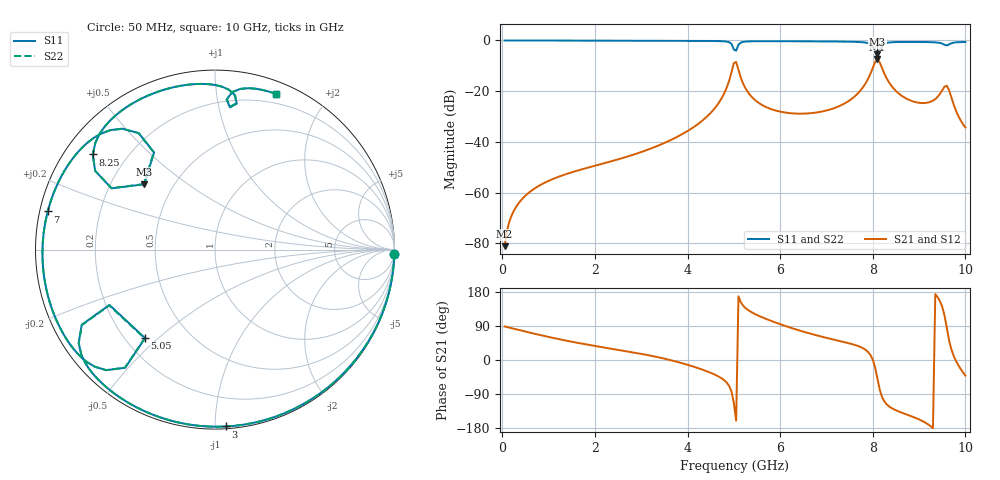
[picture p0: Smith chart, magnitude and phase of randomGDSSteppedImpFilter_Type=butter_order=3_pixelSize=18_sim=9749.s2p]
! freq	dB(S11)	phase(S11)	dB(S12)	phase(S12)
!  dB(S21)	phase(S21)	dB(S22)	phase(S22)
!S-par simulation data
#  GHz  S  DB  R 50
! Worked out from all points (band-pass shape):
!   200 points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, 50 MHz to 10 GHz, reference 50 ohm
!   highest |S21| = -7.47 dB at 8.1 GHz (marker M1); lowest = -81.1 dB at 50 MHz (marker M2)
!   |S21| within 3 dB of the highest: 4.978 GHz to 5.082 GHz (103.3 MHz wide, 2.05 % of centre); 8.008 GHz to 8.19 GHz (182.6 MHz wide, 2.25 % of centre)
!   lowest |S11| = -5.4 dB at 8.1 GHz (marker M3), VSWR 3.32, Z = 17.1 + j17.5 ohm
!   |S11| at or under -10 dB: nowhere
!   |S22| runs from -5.4 to 0.0 dB; largest |S21 - S12| = 0
!   S11 on the Smith chart (normalised r, x): 50 MHz: 1, -75; 3 GHz: 0.01, -1.06; 5.05 GHz: 0.28, -0.45; 7 GHz: 0.02, +0.11; 8.25 GHz: 0.08, +0.34; 10 GHz: 0.11, +1.46
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0.05  -0.00 -1.5  -81.09 88.5  -81.09 88.5  -0.00 -1.5
0.2  -0.01 -6.0  -69.07 83.9  -69.07 83.9  -0.01 -6.0
0.5  -0.02 -15.0  -61.17 75.0  -61.17 75.0  -0.02 -15.0
1.75  -0.06 -51.6  -50.64 42.5  -50.64 42.5  -0.06 -51.6
3  -0.11 -86.5  -43.99 16.3  -43.99 16.3  -0.11 -86.5
3.4  -0.13 -97.4  -41.21 6.4  -41.21 6.4  -0.13 -97.3
4.5  -0.20 -127.9  -28.55 -33.8  -28.55 -33.8  -0.20 -127.9
4.95  -1.39 -150.6  -12.48 -83.5  -12.48 -83.5  -1.38 -150.4
5  -3.56 -152.3  -8.92 -113.2  -8.92 -113.2  -3.53 -152.1
5.05  -4.04 -128.3  -8.51 -160.0  -8.51 -160.0  -4.00 -128.4
5.25  -0.46 -138.6  -18.81 137.2  -18.81 137.2  -0.45 -138.6
5.55  -0.30 -149.9  -24.77 115.9  -24.77 115.9  -0.30 -149.9
6.7  -0.36 176.3  -28.60 67.9  -28.60 67.9  -0.36 176.3
7  -0.39 167.1  -27.62 58.5  -27.62 58.5  -0.39 167.2
7.6  -0.54 146.5  -22.22 40.3  -22.22 40.3  -0.54 146.6
7.95  -1.43 127.4  -13.11 13.2  -13.11 13.2  -1.42 127.5
8.1  -5.40 137.3  -7.47 -49.0  -7.47 -49.0  -5.37 137.3
8.25  -1.28 142.1  -13.08 -109.2  -13.08 -109.2  -1.28 142.1
8.35  -0.81 134.7  -16.50 -122.3  -16.50 -122.3  -0.80 134.7
9.05  -0.60 103.1  -24.67 -159.8  -24.67 -159.8  -0.60 103.1
9.6  -1.97 84.0  -17.88 84.0  -17.88 84.0  -1.93 83.9
10  -0.62 68.7  -34.28 -41.2  -34.28 -41.2  -0.61 68.6
